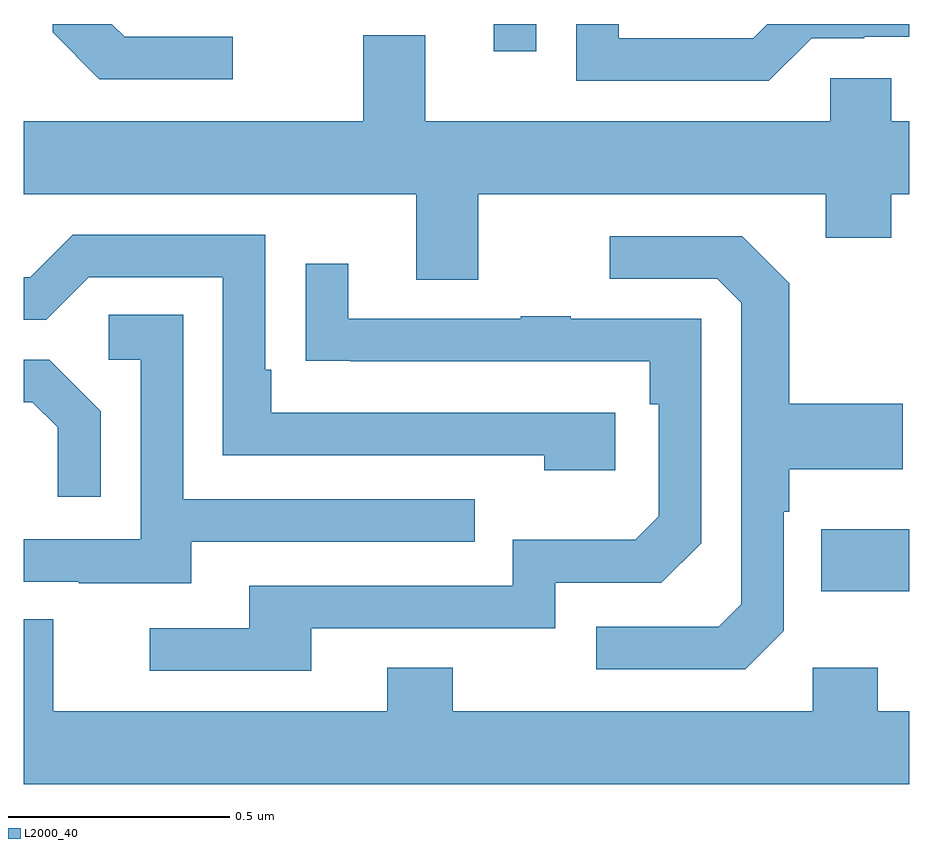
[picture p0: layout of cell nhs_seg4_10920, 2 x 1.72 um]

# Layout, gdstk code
import gdstk
lib = gdstk.Library(unit=1e-6, precision=1e-09)
def R(c, l, rs):  # rectangles x0, y0, x1, y1
    for r in rs: c.add(gdstk.rectangle(r[:2], r[2:], *l))
def P(c, l, *ps):  # polygons
    for p in ps: c.add(gdstk.Polygon(p, *l))
L2000_40 = (2000, 40)

nhs_seg4_10920 = lib.new_cell('nhs_seg4_10920')
R(nhs_seg4_10920, L2000_40, [(247.801,766.619,248,766.759), (247.061,767.838,247.157,767.9)])
P(nhs_seg4_10920, L2000_40, [(247.779,767.868),(247.898,767.868),(247.898,767.871),(248,767.871),(248,767.9),(247.679,767.9),(247.647,767.868),(247.344,767.868),(247.344,767.9),(247.248,767.9),(247.248,767.772),(247.683,767.772)],
  [(246.472,767.871),(246.228,767.871),(246.199,767.9),(246.066,767.9),(246.066,767.881),(246.171,767.775),(246.472,767.775)],
  [(247.027,767.516),(247.811,767.516),(247.811,767.417),(247.959,767.417),(247.959,767.516),(248,767.516),(248,767.68),(247.959,767.68),(247.959,767.778),(247.821,767.778),(247.821,767.68),(246.907,767.68),(246.907,767.875),(246.767,767.875),(246.767,767.68),(246,767.68),(246,767.516),(246.887,767.516),(246.887,767.322),(247.027,767.322)],
  [(247.336,767.022),(246.559,767.022),(246.559,767.119),(246.546,767.119),(246.546,767.424),(246.111,767.424),(246.015,767.328),(246,767.328),(246,767.232),(246.051,767.232),(246.147,767.328),(246.45,767.328),(246.45,766.926),(247.175,766.926),(247.175,766.892),(247.336,766.892)],
  [(247.716,766.53),(247.716,766.799),(247.729,766.799),(247.729,766.895),(247.985,766.895),(247.985,767.043),(247.729,767.043),(247.729,767.315),(247.623,767.421),(247.323,767.421),(247.323,767.325),(247.566,767.325),(247.62,767.271),(247.62,766.59),(247.569,766.539),(247.293,766.539),(247.293,766.443),(247.629,766.443)],
  [(246.649,766.536),(247.2,766.536),(247.2,766.638),(247.44,766.638),(247.53,766.728),(247.53,767.235),(247.235,767.235),(247.235,767.24),(247.123,767.24),(247.123,767.235),(246.733,767.235),(246.733,767.359),(246.637,767.359),(246.637,767.14),(246.739,767.14),(246.739,767.139),(247.414,767.139),(247.414,767.042),(247.434,767.042),(247.434,766.788),(247.381,766.735),(247.104,766.735),(247.104,766.632),(246.509,766.632),(246.509,766.536),(246.285,766.536),(246.285,766.44),(246.649,766.44)],
  [(246.379,766.731),(247.019,766.731),(247.019,766.827),(246.36,766.827),(246.36,767.243),(246.192,767.243),(246.192,767.142),(246.264,767.142),(246.264,766.737),(246,766.737),(246,766.641),(246.125,766.641),(246.125,766.637),(246.379,766.637)],
  [(246.174,767.026),(246.058,767.142),(246,767.142),(246,767.046),(246.02,767.046),(246.077,766.989),(246.077,766.833),(246.174,766.833)],
  [(248,766.348),(247.929,766.348),(247.929,766.447),(247.782,766.447),(247.782,766.348),(246.969,766.348),(246.969,766.447),(246.821,766.447),(246.821,766.348),(246.067,766.348),(246.067,766.556),(246,766.556),(246,766.184),(248,766.184)])

lib.write_gds('nhs_seg4_10920.gds')
